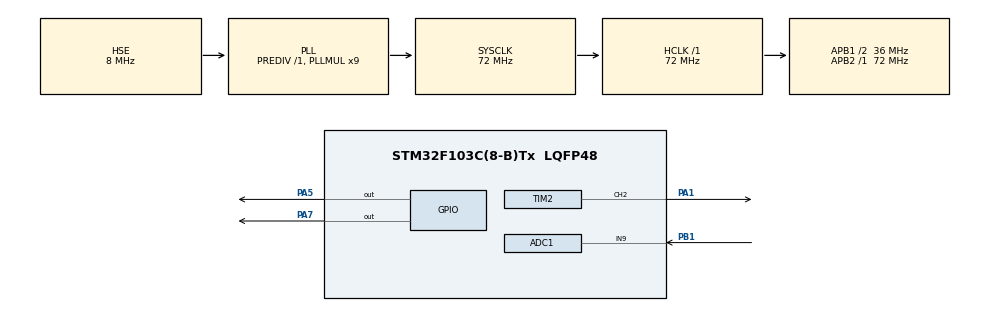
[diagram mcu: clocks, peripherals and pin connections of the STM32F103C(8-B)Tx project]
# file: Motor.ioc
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ADC1.Channel-0\#ChannelRegularConversion=ADC_CHANNEL_9
ADC1.ContinuousConvMode=ENABLE
ADC1.NbrOfConversionFlag=1
ADC1.Rank-0\#ChannelRegularConversion=1
ADC1.SamplingTime-0\#ChannelRegularConversion=ADC_SAMPLETIME_1CYCLE_5
ADC1.master=1
Mcu.Family=STM32F1
Mcu.Name=STM32F103C(8-B)Tx
Mcu.Package=LQFP48
NVIC.PriorityGroup=NVIC_PRIORITYGROUP_4
PA1.Signal=S_TIM2_CH2
PA13.Mode=Serial_Wire
PA13.Signal=SYS_JTMS-SWDIO
PA14.Mode=Serial_Wire
PA14.Signal=SYS_JTCK-SWCLK
PA5.Signal=GPIO_Output
PA7.Signal=GPIO_Output
PB1.Signal=ADCx_IN9
PD0-OSC_IN.Mode=HSE-External-Oscillator
PD0-OSC_IN.Signal=RCC_OSC_IN
PD1-OSC_OUT.Mode=HSE-External-Oscillator
PD1-OSC_OUT.Signal=RCC_OSC_OUT
ProjectManager.HeapSize=0x200
ProjectManager.StackSize=0x400
ProjectManager.TargetToolchain=Makefile
RCC.ADCPresc=RCC_ADCPCLK2_DIV6
RCC.AHBFreq_Value=72000000
RCC.APB1CLKDivider=RCC_HCLK_DIV2
RCC.APB1Freq_Value=36000000
RCC.APB1TimFreq_Value=72000000
RCC.APB2Freq_Value=72000000
RCC.APB2TimFreq_Value=72000000
RCC.HCLKFreq_Value=72000000
RCC.PLLMUL=RCC_PLL_MUL9
RCC.PLLSourceVirtual=RCC_PLLSOURCE_HSE
RCC.SYSCLKFreq_VALUE=72000000
RCC.SYSCLKSource=RCC_SYSCLKSOURCE_PLLCLK
RCC.USBFreq_Value=72000000
SH.ADCx_IN9.0=ADC1_IN9,IN9
SH.S_TIM2_CH2.0=TIM2_CH2,PWM Generation2 CH2
TIM2.Channel-PWM\ Generation2\ CH2=TIM_CHANNEL_2
TIM2.Period=625
TIM2.Prescaler=127
VP_TIM2_VS_ClockSourceINT.Mode=Internal
board=custom

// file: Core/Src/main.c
/* USER CODE BEGIN Header */
/**
  ******************************************************************************
  * @file           : main.c
  * @brief          : Main program body
  ******************************************************************************
  * @attention
  *
  * Copyright (c) 2022 STMicroelectronics.
  * All rights reserved.
  *
  * This software is licensed under terms that can be found in the LICENSE file
  * in the root directory of this software component.
  * If no LICENSE file comes with this software, it is provided AS-IS.
  *
  ******************************************************************************
  */
/* USER CODE END Header */
#include "main.h"

 ADC_HandleTypeDef hadc1;

TIM_HandleTypeDef htim2;

void SystemClock_Config(void);
static void MX_GPIO_Init(void);
static void MX_ADC1_Init(void);
static void MX_TIM2_Init(void);

int main(void)
{

  /* MCU Configuration--------------------------------------------------------*/

  /* Reset of all peripherals, Initializes the Flash interface and the Systick. */
  HAL_Init();

  /* Configure the system clock */
  SystemClock_Config();

  /* Initialize all configured peripherals */
  MX_GPIO_Init();
  MX_ADC1_Init();
  MX_TIM2_Init();
  /* USER CODE BEGIN 2 */
  HAL_ADC_Start(&hadc1);  //PB1
  HAL_TIM_PWM_Start(&htim2, TIM_CHANNEL_2); //PA1 TIM2 CH2
  uint16_t readValue;
  int speed;
  HAL_GPIO_WritePin(GPIOA, GPIO_PIN_7, 0);
  HAL_GPIO_WritePin(GPIOA, GPIO_PIN_5, 0);
  /* USER CODE END 2 */

  /* Infinite loop */
  /* USER CODE BEGIN WHILE */
  while (1)
  {
    HAL_ADC_PollForConversion(&hadc1,1000);
    readValue = HAL_ADC_GetValue(&hadc1);
    if (readValue < 1790) {
      HAL_GPIO_WritePin(GPIOA, GPIO_PIN_7, 0);
      HAL_GPIO_WritePin(GPIOA, GPIO_PIN_5, 1);
      speed = (readValue - 1790) * (-1) / 3;
    } else if (readValue > 2220) {
      HAL_GPIO_WritePin(GPIOA, GPIO_PIN_5, 0);
      HAL_GPIO_WritePin(GPIOA, GPIO_PIN_7, 1);
      speed = (readValue - 2220) / 3;
    } else {
      speed = 0;
    }
    __HAL_TIM_SET_COMPARE(&htim2,TIM_CHANNEL_2, speed);
    //HAL_Delay(50);

    /* USER CODE END WHILE */

  }
}

void SystemClock_Config(void)
{
  RCC_OscInitTypeDef RCC_OscInitStruct = {0};
  RCC_ClkInitTypeDef RCC_ClkInitStruct = {0};
  RCC_PeriphCLKInitTypeDef PeriphClkInit = {0};

  /** Initializes the RCC Oscillators according to the specified parameters
  * in the RCC_OscInitTypeDef structure.
  */
  RCC_OscInitStruct.OscillatorType = RCC_OSCILLATORTYPE_HSE;
  RCC_OscInitStruct.HSEState = RCC_HSE_ON;
  RCC_OscInitStruct.HSEPredivValue = RCC_HSE_PREDIV_DIV1;
  RCC_OscInitStruct.HSIState = RCC_HSI_ON;
  RCC_OscInitStruct.PLL.PLLState = RCC_PLL_ON;
  RCC_OscInitStruct.PLL.PLLSource = RCC_PLLSOURCE_HSE;
  RCC_OscInitStruct.PLL.PLLMUL = RCC_PLL_MUL9;
  if (HAL_RCC_OscConfig(&RCC_OscInitStruct) != HAL_OK)
  {
    Error_Handler();
  }

  /** Initializes the CPU, AHB and APB buses clocks
  */
  RCC_ClkInitStruct.ClockType = RCC_CLOCKTYPE_HCLK|RCC_CLOCKTYPE_SYSCLK
                              |RCC_CLOCKTYPE_PCLK1|RCC_CLOCKTYPE_PCLK2;
  RCC_ClkInitStruct.SYSCLKSource = RCC_SYSCLKSOURCE_PLLCLK;
  RCC_ClkInitStruct.AHBCLKDivider = RCC_SYSCLK_DIV1;
  RCC_ClkInitStruct.APB1CLKDivider = RCC_HCLK_DIV2;
  RCC_ClkInitStruct.APB2CLKDivider = RCC_HCLK_DIV1;

  if (HAL_RCC_ClockConfig(&RCC_ClkInitStruct, FLASH_LATENCY_2) != HAL_OK)
  {
    Error_Handler();
  }
  PeriphClkInit.PeriphClockSelection = RCC_PERIPHCLK_ADC;
  PeriphClkInit.AdcClockSelection = RCC_ADCPCLK2_DIV6;
  if (HAL_RCCEx_PeriphCLKConfig(&PeriphClkInit) != HAL_OK)
  {
    Error_Handler();
  }
}

static void MX_ADC1_Init(void)
{

  ADC_ChannelConfTypeDef sConfig = {0};

  /** Common config
  */
  hadc1.Instance = ADC1;
  hadc1.Init.ScanConvMode = ADC_SCAN_DISABLE;
  hadc1.Init.ContinuousConvMode = ENABLE;
  hadc1.Init.DiscontinuousConvMode = DISABLE;
  hadc1.Init.ExternalTrigConv = ADC_SOFTWARE_START;
  hadc1.Init.DataAlign = ADC_DATAALIGN_RIGHT;
  hadc1.Init.NbrOfConversion = 1;
  if (HAL_ADC_Init(&hadc1) != HAL_OK)
  {
    Error_Handler();
  }

  /** Configure Regular Channel
  */
  sConfig.Channel = ADC_CHANNEL_9;
  sConfig.Rank = ADC_REGULAR_RANK_1;
  sConfig.SamplingTime = ADC_SAMPLETIME_1CYCLE_5;
  if (HAL_ADC_ConfigChannel(&hadc1, &sConfig) != HAL_OK)
  {
    Error_Handler();
  }

}

static void MX_TIM2_Init(void)
{

  TIM_ClockConfigTypeDef sClockSourceConfig = {0};
  TIM_MasterConfigTypeDef sMasterConfig = {0};
  TIM_OC_InitTypeDef sConfigOC = {0};

  htim2.Instance = TIM2;
  htim2.Init.Prescaler = 127;
  htim2.Init.CounterMode = TIM_COUNTERMODE_UP;
  htim2.Init.Period = 625;
  htim2.Init.ClockDivision = TIM_CLOCKDIVISION_DIV1;
  htim2.Init.AutoReloadPreload = TIM_AUTORELOAD_PRELOAD_DISABLE;
  if (HAL_TIM_Base_Init(&htim2) != HAL_OK)
  {
    Error_Handler();
  }
  sClockSourceConfig.ClockSource = TIM_CLOCKSOURCE_INTERNAL;
  if (HAL_TIM_ConfigClockSource(&htim2, &sClockSourceConfig) != HAL_OK)
  {
    Error_Handler();
  }
  if (HAL_TIM_PWM_Init(&htim2) != HAL_OK)
  {
    Error_Handler();
  }
  sMasterConfig.MasterOutputTrigger = TIM_TRGO_RESET;
  sMasterConfig.MasterSlaveMode = TIM_MASTERSLAVEMODE_DISABLE;
  if (HAL_TIMEx_MasterConfigSynchronization(&htim2, &sMasterConfig) != HAL_OK)
  {
    Error_Handler();
  }
  sConfigOC.OCMode = TIM_OCMODE_PWM1;
  sConfigOC.Pulse = 0;
  sConfigOC.OCPolarity = TIM_OCPOLARITY_HIGH;
  sConfigOC.OCFastMode = TIM_OCFAST_DISABLE;
  if (HAL_TIM_PWM_ConfigChannel(&htim2, &sConfigOC, TIM_CHANNEL_2) != HAL_OK)
  {
    Error_Handler();
  }
  HAL_TIM_MspPostInit(&htim2);

}

static void MX_GPIO_Init(void)
{
  GPIO_InitTypeDef GPIO_InitStruct = {0};

  /* GPIO Ports Clock Enable */
  __HAL_RCC_GPIOD_CLK_ENABLE();
  __HAL_RCC_GPIOA_CLK_ENABLE();
  __HAL_RCC_GPIOB_CLK_ENABLE();

  /*Configure GPIO pin Output Level */
  HAL_GPIO_WritePin(GPIOA, GPIO_PIN_5|GPIO_PIN_7, GPIO_PIN_RESET);

  /*Configure GPIO pins : PA5 PA7 */
  GPIO_InitStruct.Pin = GPIO_PIN_5|GPIO_PIN_7;
  GPIO_InitStruct.Mode = GPIO_MODE_OUTPUT_PP;
  GPIO_InitStruct.Pull = GPIO_NOPULL;
  GPIO_InitStruct.Speed = GPIO_SPEED_FREQ_LOW;
  HAL_GPIO_Init(GPIOA, &GPIO_InitStruct);

}

void Error_Handler(void)
{
  __disable_irq();
  while (1)
  {
  }
}
